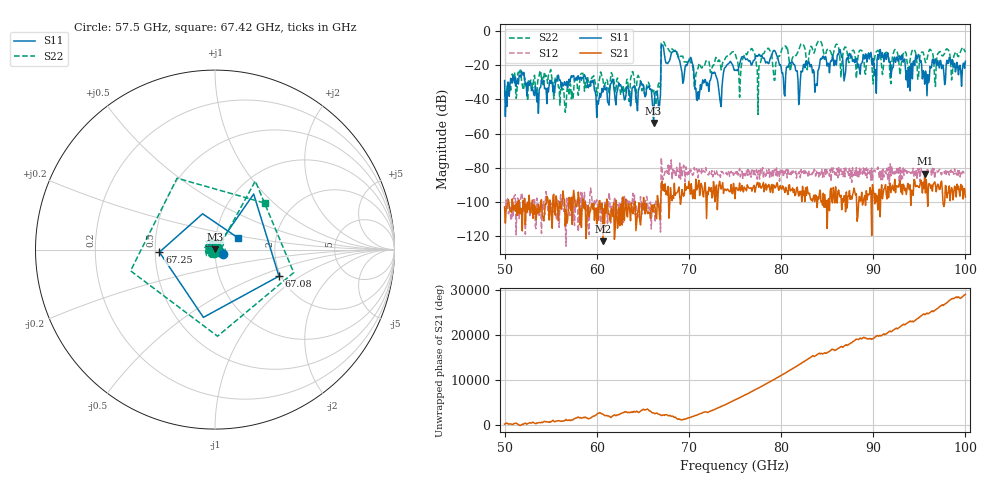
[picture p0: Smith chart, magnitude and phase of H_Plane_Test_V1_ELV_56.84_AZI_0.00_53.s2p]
! 11/27/2026 8:37:12 AM
! C:\ANRITSUVNA\TEMP\TEMP.S2P
! CHANNEL.1
! TR.MEASUREMENT
! RAW.DATA
# HZ S RI R 50.0
! FREQ.HZ  S11RE  S11IM  S21RE  S21IM  S12RE  S12IM  S22RE  S22IM
!; PortSelection: Port_12
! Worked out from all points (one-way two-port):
!   601 points, 50 GHz to 100 GHz, reference 50 ohm
!   highest |S21| = -83.52 dB at 95.58 GHz (marker M1); lowest = -123.1 dB at 60.67 GHz (marker M2)
!   lowest |S11| = -53.9 dB at 66.17 GHz (marker M3), VSWR 1.00, Z = 50.1 + j0.149 ohm
!   |S11| at or under -10 dB: start of sweep to 67 GHz; 67.24 GHz to end of sweep
!   |S22| runs from -48.9 to -5.6 dB; largest |S21 - S12| = 0.00023
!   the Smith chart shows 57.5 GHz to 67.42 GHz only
!   S11 on the Smith chart (normalised r, x): 57.5 GHz: 1.09, -0.05; 67.08 GHz: 1.95, -0.68; 67.25 GHz: 0.53, -0.02; 67.42 GHz: 1.29, +0.17
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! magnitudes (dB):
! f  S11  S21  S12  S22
! 50 GHz  -29.0  -102.9  -108.8  -35.3
! 57.5 GHz  -26.1  -93.2  -98.4  -34.5
! 58.42 GHz  -27.1  -102.6  -94.8  -24.8
! 60.67 GHz  -35.8  -123.1  -103.7  -28.2
! 66.17 GHz  -53.9  -102.6  -105.8  -34.0
! 66.67 GHz  -41.8  -99.3  -103.2  -31.6
! 67.08 GHz  -8.3  -87.8  -80.2  -6.8
! 67.25 GHz  -10.2  -89.9  -85.3  -6.3
! 67.42 GHz  -16.8  -89.4  -82.1  -8.4
! 70.25 GHz  -16.0  -89.4  -81.4  -18.7
! 70.92 GHz  -40.7  -92.3  -82.1  -23.1
! 75 GHz  -23.1  -98.1  -81.9  -13.0
! 77.58 GHz  -13.8  -91.4  -81.6  -21.7
! 78.5 GHz  -18.2  -90.7  -82.8  -10.8
! 79.33 GHz  -11.7  -91.9  -81.0  -28.8
! 80.25 GHz  -27.9  -91.5  -85.6  -9.4
! 83.42 GHz  -24.6  -99.6  -82.6  -10.8
! 91.67 GHz  -16.7  -97.4  -79.7  -15.2
! 93.75 GHz  -33.0  -89.2  -81.3  -21.4
! 94.83 GHz  -14.9  -90.7  -80.5  -28.3
! 95.58 GHz  -31.1  -83.5  -82.2  -16.5
! 100 GHz  -17.8  -97.2  -82.3  -12.5
